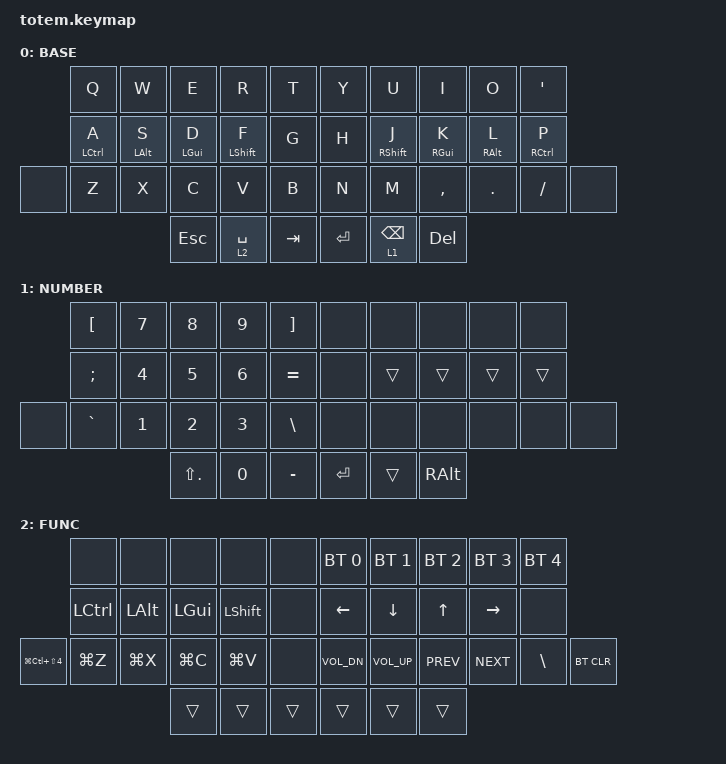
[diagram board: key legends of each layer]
//
//                                                        ▀▀▀▀▀     ▀▀▀▀▀          ▀▀█▀▀
//                                                        ▄▀▀▀▄  ▄  ▄▀▀▀▄  ▄  ▄▀▀▀▄  █  ▄▀▀▀▄
//                                                        █   █  █  █   █  █  █   █  █  █   █
//                                                         ▀▀▀   █   ▀▀▀   █   ▀▀▀   ▀   ▀▀▀
//                                                               █      ▄▄▄█▄▄▄    █   █  
//                                                               ▀      █  █  █     █▄█
//                                                             ▀▀▀▀▀    █  █  █      ▀
//                                                                      ▀  ▀  ▀
//
// ▄▄▄▄▄▄▄▄▄▄▄▄▄▄▄▄▄▄▄▄▄▄▄▄▄▄▄▄▄▄▄▄▄▄▄▄▄▄▄▄▄▄▄▄▄▄▄▄▄▄▄▄▄▄▄▄▄▄▄▄▄▄▄▄▄▄▄▄▄▄▄▄▄▄▄▄▄▄▄▄▄▄▄▄▄▄▄▄▄▄▄▄▄▄▄▄▄▄▄▄▄▄▄▄▄▄▄▄▄▄▄▄▄▄▄▄▄▄▄▄▄▄▄▄▄▄▄▄▄▄▄▄▄▄▄▄▄▄▄▄▄▄▄▄▄▄▄▄▄
       

#include <behaviors.dtsi>
#include <dt-bindings/zmk/keys.h>
#include <dt-bindings/zmk/bt.h>
#include <dt-bindings/zmk/outputs.h>

#define BASE 0
#define NAV  1
#define SYM  2


 // This is so I can potentially press my backspaced twice and
 // make it send multiple keypresses afterwards?
 &lt {
  quick-tap-ms = <200>;
 };

/ {
     behaviors {
        // including homerow mods with tap preferred from https://zmk.dev/docs/keymaps/behaviors/hold-tap#option-2-tap-preferred
        hm: homerow_mods {
            compatible = "zmk,behavior-hold-tap";
            #binding-cells = <2>;
            tapping-term-ms = <200>;
            quick-tap-ms = <150>;
            flavor = "tap-preferred";
            bindings = <&kp>, <&kp>;
        };
        // Trying out this behavior since
        // Whenever I'm writing the homerow mods get triggered
        // and silly things happen
        rpi: require_prior_idle {
            compatible = "zmk,behavior-hold-tap";
            #binding-cells = <2>;
            flavor = "tap-preferred";
            tapping-term-ms = <200>;
            quick-tap-ms = <180>;
            require-prior-idle-ms = <50>;
            bindings = <&kp>, <&kp>;
        };
     };

        keymap {
                compatible = "zmk,keymap";
// ▄▄▄▄▄▄▄▄▄▄▄▄▄▄▄▄▄▄▄▄▄▄▄▄▄▄▄▄▄▄▄▄▄▄▄▄▄▄▄▄▄▄▄▄▄▄▄▄▄▄▄▄▄▄▄▄▄▄▄▄▄▄▄▄▄▄▄▄▄▄▄▄▄▄▄▄▄▄▄▄▄▄▄▄▄▄▄▄▄▄▄▄▄▄▄▄▄▄▄▄▄▄▄▄▄▄▄▄▄▄▄▄▄▄▄▄▄▄▄▄▄▄▄▄▄▄▄▄▄▄▄▄▄▄▄▄▄▄▄▄▄▄▄▄▄▄▄▄▄

                base_layer {
// ┏━━━━━━━━━━━━━━━━━━━━━━━━━━━━━━━━━━━━━━━┓
label= "BASE"                              ;
// ┗━━━━━━━━━━━━━━━━━━━━━━━━━━━━━━━━━━━━━━━┛
//             ┏━━━━━━━━━━━┳━━━━━━━━━━━┳━━━━━━━━━━━┳━━━━━━━━━━━┳━━━━━━━━━━━┓   ┏━━━━━━━━━━━┳━━━━━━━━━━━┳━━━━━━━━━━━┳━━━━━━━━━━━┳━━━━━━━━━━━┓
//             ┃     Q     ┃     W     ┃     F     ┃     P     ┃     G     ┃   ┃     J     ┃     L     ┃     U     ┃     Y     ┃     ;     ┃
//             ┣━━━━━━━━━━━╋━━━━━━━━━━━╋━━━━━━━━━━━╋━━━━━━━━━━━╋━━━━━━━━━━━┫   ┣━━━━━━━━━━━╋━━━━━━━━━━━╋━━━━━━━━━━━╋━━━━━━━━━━━╋━━━━━━━━━━━┫
//             ┃     A     ┃     R     ┃     S     ┃     T     ┃     D     ┃   ┃     H     ┃     N     ┃     E     ┃     I     ┃     O     ┃
// ┏━━━━━━━━━━━╋━━━━━━━━━━━╋━━━━━━━━━━━╋━━━━━━━━━━━╋━━━━━━━━━━━╋━━━━━━━━━━━┫   ┣━━━━━━━━━━━╋━━━━━━━━━━━╋━━━━━━━━━━━╋━━━━━━━━━━━╋━━━━━━━━━━━╋━━━━━━━━━━━┓
// ┃     Q     ┃     Z     ┃     X     ┃     C     ┃     V     ┃     B     ┃   ┃     K     ┃     M     ┃     ,     ┃     .     ┃     /     ┃     \     ┃
// ┗━━━━━━━━━━━┻━━━━━━━━━━━┻━━━━━━━━━━━╋━━━━━━━━━━━╋━━━━━━━━━━━╋━━━━━━━━━━━┫   ┣━━━━━━━━━━━╋━━━━━━━━━━━╋━━━━━━━━━━━╋━━━━━━━━━━━┻━━━━━━━━━━━┻━━━━━━━━━━━┛
//                                     ┃    DEL    ┃    TAB    ┃    SPC    ┃   ┃   ENTER   ┃           ┃   BSPC    ┃
//                                     ┗━━━━━━━━━━━┻━━━━━━━━━━━┻━━━━━━━━━━━┛   ┗━━━━━━━━━━━┻━━━━━━━━━━━┻━━━━━━━━━━━┛
 bindings = <
// ╷           ╷           ╷           ╷           ╷           ╷           ╷   ╷           ╷           ╷           ╷           ╷           ╷           ╷

                &kp Q       &kp W       &kp E       &kp R       &kp T           &kp Y       &kp U       &kp I       &kp O       &kp SQT
                &hm LCTRL A &hm LALT S  &hm LGUI D  &hm LSHFT F &kp G           &kp H       &hm RSHFT J &hm RGUI K  &hm RALT L  &hm RCTRL P
    &none       &kp Z       &kp X       &kp C       &kp V       &kp B           &kp N       &kp M       &kp COMMA   &kp DOT     &kp FSLH    &none
                                        &kp ESC   &lt 2 SPACE   &kp TAB         &kp ENTER   &lt 1 BSPC  &kp DEL
                        >;
                };

// ▄▄▄▄▄▄▄▄▄▄▄▄▄▄▄▄▄▄▄▄▄▄▄▄▄▄▄▄▄▄▄▄▄▄▄▄▄▄▄▄▄▄▄▄▄▄▄▄▄▄▄▄▄▄▄▄▄▄▄▄▄▄▄▄▄▄▄▄▄▄▄▄▄▄▄▄▄▄▄▄▄▄▄▄▄▄▄▄▄▄▄▄▄▄▄▄▄▄▄▄▄▄▄▄▄▄▄▄▄▄▄▄▄▄▄▄▄▄▄▄▄▄▄▄▄▄▄▄▄▄▄▄▄▄▄▄▄▄▄▄▄▄▄▄▄▄▄▄▄


                nav_layer {
// ┏━━━━━━━━━━━━━━━━━━━━━━━━━━━━━━━━━━━━━━━┓
label= "NUMBER"                            ;
// ┗━━━━━━━━━━━━━━━━━━━━━━━━━━━━━━━━━━━━━━━┛
//             ┏━━━━━━━━━━━┳━━━━━━━━━━━┳━━━━━━━━━━━┳━━━━━━━━━━━┳━━━━━━━━━━━┓   ┏━━━━━━━━━━━┳━━━━━━━━━━━┳━━━━━━━━━━━┳━━━━━━━━━━━┳━━━━━━━━━━━┓
//             ┃           ┃           ┃     UP    ┃           ┃     {     ┃   ┃     }     ┃     7     ┃     8     ┃     9     ┃     +     ┃
//             ┣━━━━━━━━━━━╋━━━━━━━━━━━╋━━━━━━━━━━━╋━━━━━━━━━━━╋━━━━━━━━━━━┫   ┣━━━━━━━━━━━╋━━━━━━━━━━━╋━━━━━━━━━━━╋━━━━━━━━━━━╋━━━━━━━━━━━┫
//             ┃   SHIFT   ┃   LEFT    ┃    DOWN   ┃   RIGHT   ┃     [     ┃   ┃     ]     ┃     4     ┃     5     ┃     6     ┃     -     ┃
// ┏━━━━━━━━━━━╋━━━━━━━━━━━╋━━━━━━━━━━━╋━━━━━━━━━━━╋━━━━━━━━━━━╋━━━━━━━━━━━┫   ┣━━━━━━━━━━━╋━━━━━━━━━━━╋━━━━━━━━━━━╋━━━━━━━━━━━╋━━━━━━━━━━━╋━━━━━━━━━━━┓
// ┃           ┃           ┃   P UP    ┃  C LOCK   ┃  P DOWN   ┃     (     ┃   ┃     )     ┃     1     ┃     2     ┃     3     ┃     *     ┃           ┃
// ┗━━━━━━━━━━━┻━━━━━━━━━━━┻━━━━━━━━━━━╋━━━━━━━━━━━╋━━━━━━━━━━━╋━━━━━━━━━━━┫   ┣━━━━━━━━━━━╋━━━━━━━━━━━╋━━━━━━━━━━━╋━━━━━━━━━━━┻━━━━━━━━━━━┻━━━━━━━━━━━┛
//                                     ┃           ┃    TAB    ┃    SPC    ┃   ┃    DEL    ┃     0     ┃           ┃
//                                     ┗━━━━━━━━━━━┻━━━━━━━━━━━┻━━━━━━━━━━━┛   ┗━━━━━━━━━━━┻━━━━━━━━━━━┻━━━━━━━━━━━┛
 bindings = <
// ╷           ╷           ╷           ╷           ╷           ╷           ╷   ╷           ╷           ╷           ╷           ╷           ╷           ╷

                &kp LBKT    &kp N7      &kp N8      &kp N9      &kp RBKT           &none            &none            &none            &none            &none
                &kp SEMI    &kp N4      &kp N5      &kp N6      &kp EQUAL          &none            &trans           &trans           &trans           &trans
    &none       &kp GRAVE   &kp N1      &kp N2      &kp N3      &kp BSLH           &none            &none            &none            &none            &none     &none
                                        &kp LS(PERIOD) &kp N0   &kp MINUS          &kp ENTER        &trans           &kp RALT
                        >;
                };

// ▄▄▄▄▄▄▄▄▄▄▄▄▄▄▄▄▄▄▄▄▄▄▄▄▄▄▄▄▄▄▄▄▄▄▄▄▄▄▄▄▄▄▄▄▄▄▄▄▄▄▄▄▄▄▄▄▄▄▄▄▄▄▄▄▄▄▄▄▄▄▄▄▄▄▄▄▄▄▄▄▄▄▄▄▄▄▄▄▄▄▄▄▄▄▄▄▄▄▄▄▄▄▄▄▄▄▄▄▄▄▄▄▄▄▄▄▄▄▄▄▄▄▄▄▄▄▄▄▄▄▄▄▄▄▄▄▄▄▄▄▄▄▄▄▄▄▄▄▄


                sim_layer {
// ┏━━━━━━━━━━━━━━━━━━━━━━━━━━━━━━━━━━━━━━━┓
label= "FUNC"                               ;
// ┗━━━━━━━━━━━━━━━━━━━━━━━━━━━━━━━━━━━━━━━┛
//             ┏━━━━━━━━━━━┳━━━━━━━━━━━┳━━━━━━━━━━━┳━━━━━━━━━━━┳━━━━━━━━━━━┓   ┏━━━━━━━━━━━┳━━━━━━━━━━━┳━━━━━━━━━━━┳━━━━━━━━━━━┳━━━━━━━━━━━┓
//             ┃     !     ┃     @     ┃     #     ┃     $     ┃     %     ┃   ┃     ˆ     ┃     &     ┃     Ü     ┃     '     ┃     "     ┃
//             ┣━━━━━━━━━━━╋━━━━━━━━━━━╋━━━━━━━━━━━╋━━━━━━━━━━━╋━━━━━━━━━━━┫   ┣━━━━━━━━━━━╋━━━━━━━━━━━╋━━━━━━━━━━━╋━━━━━━━━━━━╋━━━━━━━━━━━┫
//             ┃     Ä     ┃           ┃    SZ     ┃           ┃           ┃   ┃   MUTE    ┃   YEN     ┃   EURO    ┃  POUND    ┃     Ö     ┃
// ┏━━━━━━━━━━━╋━━━━━━━━━━━╋━━━━━━━━━━━╋━━━━━━━━━━━╋━━━━━━━━━━━╋━━━━━━━━━━━┫   ┣━━━━━━━━━━━╋━━━━━━━━━━━╋━━━━━━━━━━━╋━━━━━━━━━━━╋━━━━━━━━━━━╋━━━━━━━━━━━┓
// ┃           ┃  EMAIL1   ┃  EMAIL2   ┃           ┃           ┃           ┃   ┃   VOL-    ┃   VOL+    ┃   LAST    ┃   NEXT    ┃     \     ┃           ┃
// ┗━━━━━━━━━━━┻━━━━━━━━━━━┻━━━━━━━━━━━╋━━━━━━━━━━━╋━━━━━━━━━━━╋━━━━━━━━━━━┫   ┣━━━━━━━━━━━╋━━━━━━━━━━━╋━━━━━━━━━━━╋━━━━━━━━━━━┻━━━━━━━━━━━┻━━━━━━━━━━━┛
//                                     ┃           ┃    GIF    ┃    ADJ    ┃   ┃           ┃           ┃           ┃
//                                     ┗━━━━━━━━━━━┻━━━━━━━━━━━┻━━━━━━━━━━━┛   ┗━━━━━━━━━━━┻━━━━━━━━━━━┻━━━━━━━━━━━┛
 bindings = <
      // ╷           ╷           ╷           ╷           ╷           ╷           ╷   ╷           ╷           ╷           ╷           ╷           ╷           ╷

                      &none    &none    &none    &none    &none                       &bt BT_SEL 0 &bt BT_SEL 1 &bt BT_SEL 2 &bt BT_SEL 3 &bt BT_SEL 4
                      &kp LCTRL   &kp LALT    &kp LGUI    &kp LSHFT   &none           &kp LEFT   &kp DOWN   &kp UP     &kp RIGHT   &none
   &kp LG(LC(LS(N4))) &kp LG(Z)   &kp LG(X)   &kp LG(C)   &kp LG(V)   &none           &kp C_VOL_DN &kp C_VOL_UP &kp C_PREV &kp C_NEXT  &kp BSLH   &bt BT_CLR
                                              &trans      &trans      &trans          &trans      &trans    &trans
                        >;
                };

// ▄▄▄▄▄▄▄▄▄▄▄▄▄▄▄▄▄▄▄▄▄▄▄▄▄▄▄▄▄▄▄▄▄▄▄▄▄▄▄▄▄▄▄▄▄▄▄▄▄▄▄▄▄▄▄▄▄▄▄▄▄▄▄▄▄▄▄▄▄▄▄▄▄▄▄▄▄▄▄▄▄▄▄▄▄▄▄▄▄▄▄▄▄▄▄▄▄▄▄▄▄▄▄▄▄▄▄▄▄▄▄▄▄▄▄▄▄▄▄▄▄▄▄▄▄▄▄▄▄▄▄▄▄▄▄▄▄▄▄▄▄▄▄▄▄▄▄▄▄
        };
};
